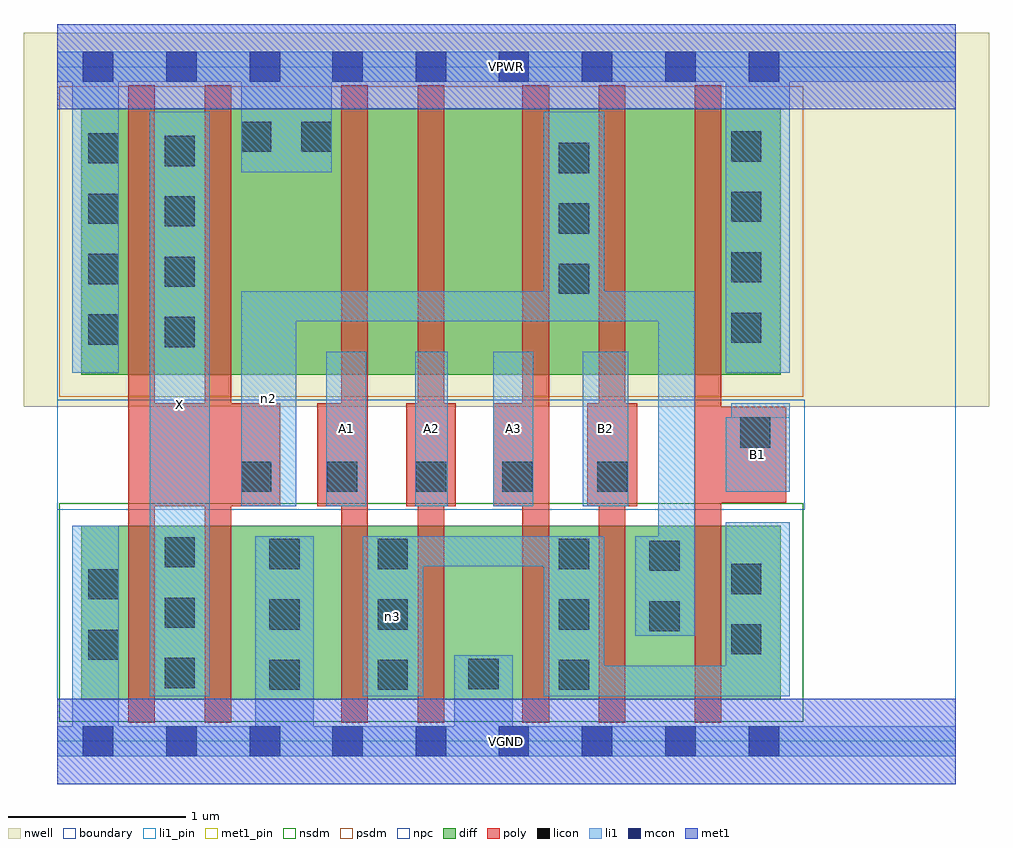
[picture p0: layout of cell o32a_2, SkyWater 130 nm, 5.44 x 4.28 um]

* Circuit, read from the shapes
.subckt o32a_2 A1 A2 A3 B1 B2 VGND VPWR X n2 n3
XM1 X n2 VGND VSUBS sky130_fd_pr__nfet_01v8 w=0.98 l=0.15 m=2
XM2 n3 A1 VGND VSUBS sky130_fd_pr__nfet_01v8 w=0.98 l=0.15
XM3 VGND A2 n3 VSUBS sky130_fd_pr__nfet_01v8 w=0.98 l=0.15
XM4 n3 A3 VGND VSUBS sky130_fd_pr__nfet_01v8 w=0.98 l=0.15
XM5 n2 B2 n3 VSUBS sky130_fd_pr__nfet_01v8 w=0.98 l=0.15
XM6 n3 B1 n2 VSUBS sky130_fd_pr__nfet_01v8 w=0.98 l=0.15
XM7 X n2 VPWR n1 sky130_fd_pr__pfet_01v8 w=1.5 l=0.15 m=2
XM8 n4 A1 VPWR n1 sky130_fd_pr__pfet_01v8 w=1.5 l=0.15
XM9 n5 A2 n4 n1 sky130_fd_pr__pfet_01v8 w=1.5 l=0.15
XM10 n2 A3 n5 n1 sky130_fd_pr__pfet_01v8 w=1.5 l=0.15
XM11 n6 B2 n2 n1 sky130_fd_pr__pfet_01v8 w=1.5 l=0.15
XM12 VPWR B1 n6 n1 sky130_fd_pr__pfet_01v8 w=1.5 l=0.15
.ends

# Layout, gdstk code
import gdstk
lib = gdstk.Library(unit=1e-6, precision=1e-09)
def R(c, l, rs):  # rectangles x0, y0, x1, y1
    for r in rs: c.add(gdstk.rectangle(r[:2], r[2:], *l))
def A(c, l, x, y, w, h, nx, ny, dx, dy):  # array of equal rectangles
    R(c, l, [(x+i*dx, y+j*dy, x+i*dx+w, y+j*dy+h) for i in range(nx) for j in range(ny)])
nwell = (64, 20)
diff = (65, 20)
poly = (66, 20)
licon = (66, 44)
li1_pin = (67, 16)
li1 = (67, 20)
mcon = (67, 44)
met1_pin = (68, 16)
met1 = (68, 20)
nsdm = (93, 44)
psdm = (94, 20)
npc = (95, 20)
boundary = (235, 4)

o32a_2 = lib.new_cell('o32a_2')
R(o32a_2, nwell, [(-0.19,1.885,5.25,3.99), (0,1.885,5.06,3.99)])
R(o32a_2, diff, [(0.135,0.235,4.075,1.215), (0.135,2.065,4.075,3.565)])
R(o32a_2, poly, [(0.4,0.105,0.55,3.695), (0.83,0.105,0.98,3.695), (1.6,0.105,1.75,3.695), (2.03,0.105,2.18,3.695), (2.62,0.105,2.77,3.695), (3.05,0.105,3.2,3.695), (3.59,0.105,3.74,3.695), (0.4,1.325,1.255,1.905), (1.465,1.325,1.75,1.905), (1.965,1.325,2.245,1.905), (2.455,1.325,2.77,1.905), (2.985,1.325,3.265,1.905), (3.59,1.345,4.105,1.885)])
A(o32a_2, licon, 1.195, 0.29, 0.17, 0.17, 1, 3, 0, 0.34)
A(o32a_2, licon, 1.805, 0.29, 0.17, 0.17, 1, 3, 0, 0.34)
A(o32a_2, licon, 2.825, 0.29, 0.17, 0.17, 1, 3, 0, 0.34)
A(o32a_2, licon, 0.605, 0.3, 0.17, 0.17, 1, 3, 0, 0.34)
A(o32a_2, licon, 0.605, 2.22, 0.17, 0.17, 1, 4, 0, 0.34)
A(o32a_2, licon, 0.175, 2.235, 0.17, 0.17, 1, 4, 0, 0.34)
A(o32a_2, licon, 3.795, 2.245, 0.17, 0.17, 1, 4, 0, 0.34)
A(o32a_2, licon, 2.825, 2.52, 0.17, 0.17, 1, 3, 0, 0.34)
R(o32a_2, licon, [(2.315,0.295,2.485,0.465), (0.175,0.46,0.345,0.63), (3.795,0.49,3.965,0.66), (3.335,0.62,3.505,0.79), (0.175,0.8,0.345,0.97), (3.795,0.83,3.965,1), (3.335,0.96,3.505,1.13), (1.035,1.405,1.205,1.575), (1.52,1.405,1.69,1.575), (2.02,1.405,2.19,1.575), (2.505,1.405,2.675,1.575), (3.04,1.405,3.21,1.575), (3.845,1.655,4.015,1.825), (1.035,3.32,1.205,3.49), (1.375,3.32,1.545,3.49)])
R(o32a_2, li1_pin, [(0.52,0.255,0.86,3.545), (1.515,1.325,1.74,2.195), (2.015,1.325,2.2,2.195), (2.455,1.325,2.68,2.195), (2.96,1.325,3.215,2.195), (3.765,1.405,4.125,1.825)])
R(o32a_2, li1, [(0,-0.085,5.06,0.085), (0.085,-0.085,0.345,1.215), (1.115,-0.085,1.445,1.155), (2.235,-0.085,2.565,0.485), (0.52,0.255,0.86,3.545), (1.72,0.255,2.06,1.155), (2.74,0.255,3.08,1.155), (2.74,0.255,4.125,0.425), (3.765,0.255,4.125,1.235), (3.255,0.595,3.59,1.155), (3.385,0.595,3.59,2.535), (1.72,0.985,3.08,1.155), (1.035,1.325,1.345,2.535), (1.515,1.325,1.74,2.195), (2.015,1.325,2.2,2.195), (2.455,1.325,2.68,2.195), (2.96,1.325,3.215,2.195), (3.765,1.405,4.125,1.825), (3.795,1.405,4.125,1.905), (0.085,2.075,0.345,3.885), (3.765,2.075,4.125,3.885), (1.035,2.365,3.59,2.535), (2.74,2.365,3.08,3.545), (1.035,3.205,1.545,3.885), (0,3.715,5.06,3.885)])
A(o32a_2, mcon, 0.145, -0.085, 0.17, 0.17, 3, 2, 0.47, 3.8)
A(o32a_2, mcon, 2.485, -0.085, 0.17, 0.17, 4, 2, 0.47, 3.8)
R(o32a_2, mcon, [(1.55,-0.085,1.72,0.085), (2.02,-0.085,2.19,0.085), (1.55,3.715,1.72,3.885), (2.02,3.715,2.19,3.885)])
R(o32a_2, met1_pin, [(0,-0.24,5.06,0.24), (0,3.56,5.06,4.04)])
R(o32a_2, met1, [(0,-0.24,5.06,0.24), (0,3.56,5.06,4.04)])
R(o32a_2, nsdm, [(0.01,0.11,4.2,1.34)])
R(o32a_2, psdm, [(0.01,1.94,4.2,3.69)])
R(o32a_2, npc, [(0,1.305,4.21,1.925)])
R(o32a_2, boundary, [(0,0,5.06,3.8)])
o32a_2.add(gdstk.Label('A1', (1.627,1.76), layer=67, texttype=5))
o32a_2.add(gdstk.Label('A2', (2.107,1.76), layer=67, texttype=5))
o32a_2.add(gdstk.Label('A3', (2.567,1.76), layer=67, texttype=5))
o32a_2.add(gdstk.Label('B1', (3.945,1.615), layer=67, texttype=5))
o32a_2.add(gdstk.Label('B2', (3.087,1.76), layer=67, texttype=5))
o32a_2.add(gdstk.Label('X', (0.69,1.9), layer=67, texttype=5))
o32a_2.add(gdstk.Label('n3', (1.89,0.705), layer=67, texttype=5))
o32a_2.add(gdstk.Label('n2', (1.19,1.93), layer=67, texttype=5))
o32a_2.add(gdstk.Label('VPWR', (2.53,3.8), layer=68, texttype=5))
o32a_2.add(gdstk.Label('VGND', (2.53,0), layer=68, texttype=5))
o32a_2.add(gdstk.Label('A1', (1.627,1.76), layer=67, texttype=16))
o32a_2.add(gdstk.Label('A2', (2.107,1.76), layer=67, texttype=16))
o32a_2.add(gdstk.Label('A3', (2.567,1.76), layer=67, texttype=16))
o32a_2.add(gdstk.Label('B1', (3.945,1.615), layer=67, texttype=16))
o32a_2.add(gdstk.Label('B2', (3.087,1.76), layer=67, texttype=16))
o32a_2.add(gdstk.Label('X', (0.69,1.9), layer=67, texttype=16))
o32a_2.add(gdstk.Label('VPWR', (2.53,3.8), layer=68, texttype=16))
o32a_2.add(gdstk.Label('VGND', (2.53,0), layer=68, texttype=16))

lib.write_gds('o32a_2.gds')
